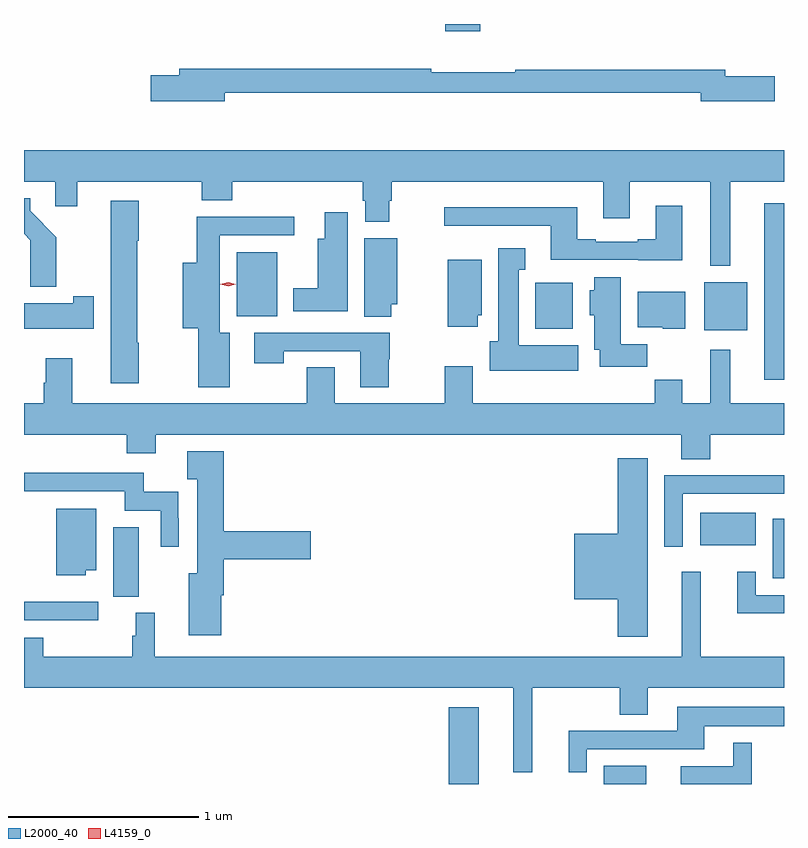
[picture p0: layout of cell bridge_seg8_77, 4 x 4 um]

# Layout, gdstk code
import gdstk
lib = gdstk.Library(unit=1e-6, precision=1e-09)
def R(c, l, rs):  # rectangles x0, y0, x1, y1
    for r in rs: c.add(gdstk.rectangle(r[:2], r[2:], *l))
def P(c, l, *ps):  # polygons
    for p in ps: c.add(gdstk.Polygon(p, *l))
L2000_40 = (2000, 40)
L4159_0 = (4159, 0)

bridge_seg8_77 = lib.new_cell('bridge_seg8_77')
R(bridge_seg8_77, L2000_40, [(952.562,1100.009,952.72,1100.413), (953.378,1100.009,953.602,1100.104), (950.795,1100.995,950.929,1101.361), (954.266,1101.092,954.326,1101.406), (953.885,1101.266,954.178,1101.436), (954.221,1102.137,954.326,1103.065), (953.906,1102.397,954.133,1102.651), (953.018,1102.406,953.215,1102.648), (951.446,1102.472,951.658,1102.807), (952.544,1103.97,952.727,1104.009)])
P(bridge_seg8_77, L2000_40, [(951.382,1103.646),(953.888,1103.646),(953.888,1103.603),(954.277,1103.603),(954.277,1103.733),(954.016,1103.733),(954.016,1103.767),(952.912,1103.767),(952.912,1103.756),(952.469,1103.756),(952.469,1103.774),(951.143,1103.774),(951.143,1103.738),(950.994,1103.738),(950.994,1103.603),(951.382,1103.603)],
  [(954.043,1103.18),(954.326,1103.18),(954.326,1103.344),(950.326,1103.344),(950.326,1103.18),(950.49,1103.18),(950.49,1103.049),(950.605,1103.049),(950.605,1103.18),(951.262,1103.18),(951.262,1103.081),(951.422,1103.081),(951.422,1103.18),(952.109,1103.18),(952.109,1103.079),(952.121,1103.079),(952.121,1102.967),(952.249,1102.967),(952.249,1103.079),(952.262,1103.079),(952.262,1103.18),(953.375,1103.18),(953.375,1102.986),(953.515,1102.986),(953.515,1103.18),(953.939,1103.18),(953.939,1102.736),(954.043,1102.736)],
  [(950.497,1102.886),(950.358,1103.025),(950.358,1103.092),(950.326,1103.092),(950.326,1102.904),(950.358,1102.872),(950.358,1102.625),(950.497,1102.625)],
  [(950.931,1102.331),(950.923,1102.331),(950.923,1102.867),(950.931,1102.867),(950.931,1103.08),(950.783,1103.08),(950.783,1102.119),(950.931,1102.119)],
  [(953.791,1103.053),(953.651,1103.053),(953.651,1102.876),(953.555,1102.876),(953.555,1102.863),(953.335,1102.863),(953.335,1102.876),(953.239,1102.876),(953.239,1103.044),(952.539,1103.044),(952.539,1102.947),(953.099,1102.947),(953.099,1102.767),(953.559,1102.767),(953.559,1102.766),(953.791,1102.766)],
  [(952.03,1103.017),(951.908,1103.017),(951.908,1102.879),(951.872,1102.879),(951.872,1102.618),(951.743,1102.618),(951.743,1102.496),(952.03,1102.496)],
  [(951.409,1102.384),(951.355,1102.384),(951.355,1102.896),(951.748,1102.896),(951.748,1102.994),(951.235,1102.994),(951.235,1102.753),(951.161,1102.753),(951.161,1102.409),(951.242,1102.409),(951.242,1102.098),(951.409,1102.098)],
  [(952.26,1102.535),(952.291,1102.535),(952.291,1102.882),(952.118,1102.882),(952.118,1102.468),(952.26,1102.468)],
  [(953.242,1102.318),(952.93,1102.318),(952.93,1102.715),(952.963,1102.715),(952.963,1102.828),(952.823,1102.828),(952.823,1102.338),(952.778,1102.338),(952.778,1102.184),(953.242,1102.184)],
  [(952.714,1102.476),(952.735,1102.476),(952.735,1102.768),(952.556,1102.768),(952.556,1102.416),(952.714,1102.416)],
  [(953.606,1102.324),(953.467,1102.324),(953.467,1102.675),(953.327,1102.675),(953.327,1102.608),(953.303,1102.608),(953.303,1102.476),(953.327,1102.476),(953.327,1102.295),(953.357,1102.295),(953.357,1102.206),(953.606,1102.206)],
  [(953.806,1102.6),(953.555,1102.6),(953.555,1102.412),(953.688,1102.412),(953.688,1102.406),(953.806,1102.406)],
  [(950.694,1102.576),(950.586,1102.576),(950.586,1102.54),(950.326,1102.54),(950.326,1102.406),(950.694,1102.406)],
  [(952.245,1102.245),(952.25,1102.245),(952.25,1102.383),(951.537,1102.383),(951.537,1102.224),(951.693,1102.224),(951.693,1102.287),(952.097,1102.287),(952.097,1102.098),(952.245,1102.098)],
  [(953.939,1101.848),(954.326,1101.848),(954.326,1102.012),(954.043,1102.012),(954.043,1102.294),(953.939,1102.294),(953.939,1102.012),(953.791,1102.012),(953.791,1102.136),(953.647,1102.136),(953.647,1102.012),(952.687,1102.012),(952.687,1102.207),(952.54,1102.207),(952.54,1102.012),(951.961,1102.012),(951.961,1102.202),(951.814,1102.202),(951.814,1102.012),(950.581,1102.012),(950.581,1102.249),(950.441,1102.249),(950.441,1102.122),(950.429,1102.122),(950.429,1102.012),(950.326,1102.012),(950.326,1101.848),(950.867,1101.848),(950.867,1101.749),(951.019,1101.749),(951.019,1101.848),(953.786,1101.848),(953.786,1101.718),(953.939,1101.718)],
  [(951.364,1101.002),(951.377,1101.002),(951.377,1101.191),(951.835,1101.191),(951.835,1101.338),(951.377,1101.338),(951.377,1101.76),(951.186,1101.76),(951.186,1101.612),(951.239,1101.612),(951.239,1101.118),(951.194,1101.118),(951.194,1100.792),(951.364,1100.792)],
  [(953.608,1101.724),(953.45,1101.724),(953.45,1101.325),(953.222,1101.325),(953.222,1100.981),(953.45,1100.981),(953.45,1100.784),(953.608,1100.784)],
  [(951.141,1101.408),(951.138,1101.408),(951.138,1101.546),(950.955,1101.546),(950.955,1101.647),(950.326,1101.647),(950.326,1101.549),(950.855,1101.549),(950.855,1101.446),(951.045,1101.446),(951.045,1101.258),(951.141,1101.258)],
  [(953.793,1101.537),(954.326,1101.537),(954.326,1101.635),(954.022,1101.635),(954.022,1101.633),(953.697,1101.633),(953.697,1101.258),(953.793,1101.258)],
  [(950.652,1101.134),(950.707,1101.134),(950.707,1101.457),(950.495,1101.457),(950.495,1101.107),(950.652,1101.107)],
  [(954.326,1101.003),(954.177,1101.003),(954.177,1101.127),(954.08,1101.127),(954.08,1100.907),(954.326,1100.907)],
  [(953,1100.516),(953.461,1100.516),(953.461,1100.374),(953.608,1100.374),(953.608,1100.516),(954.326,1100.516),(954.326,1100.68),(953.888,1100.68),(953.888,1101.127),(953.789,1101.127),(953.789,1100.68),(951.014,1100.68),(951.014,1100.91),(950.915,1100.91),(950.915,1100.789),(950.896,1100.789),(950.896,1100.68),(950.426,1100.68),(950.426,1100.779),(950.326,1100.779),(950.326,1100.516),(952.901,1100.516),(952.901,1100.07),(953,1100.07)],
  [(950.716,1100.968),(950.386,1100.968),(950.386,1100.967),(950.326,1100.967),(950.326,1100.871),(950.716,1100.871)],
  [(953.289,1100.193),(953.905,1100.193),(953.905,1100.312),(954.326,1100.312),(954.326,1100.416),(953.765,1100.416),(953.765,1100.289),(953.192,1100.289),(953.192,1100.07),(953.289,1100.07)],
  [(954.157,1100.227),(954.059,1100.227),(954.059,1100.103),(953.783,1100.103),(953.783,1100.009),(954.157,1100.009)])
P(bridge_seg8_77, L4159_0, [(951.401,1102.629),(951.36,1102.639),(951.36,1102.639),(951.36,1102.64),(951.401,1102.649),(951.441,1102.64),(951.441,1102.639),(951.441,1102.639)])

lib.write_gds('bridge_seg8_77.gds')
